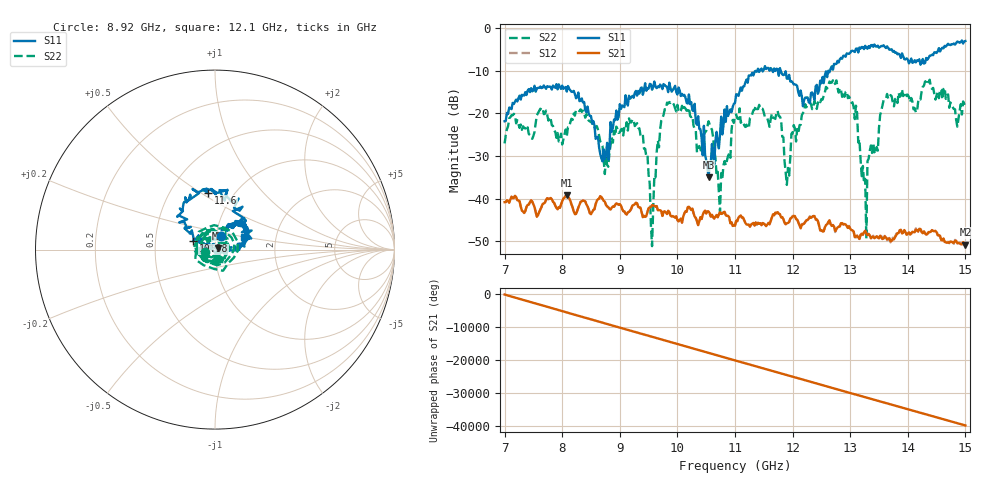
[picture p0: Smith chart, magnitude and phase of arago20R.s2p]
!Keysight Technologies,N5242B,MY47200105,A.14.00.23
!Date: Friday, April 26, 2024 11:23:16
!Correction: S11(C  2-Port  )
!S21(C  2-Port  )
!S12(C  2-Port  )
!S22(C  2-Port  )
!S2P File: Measurement: :
# Hz S  RI  R 50
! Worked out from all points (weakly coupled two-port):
!   401 points, 7 GHz to 15 GHz, reference 50 ohm
!   highest |S21| = -39.24 dB at 8.08 GHz (marker M1); lowest = -50.8 dB at 15 GHz (marker M2)
!   lowest |S11| = -35.0 dB at 10.54 GHz (marker M3), VSWR 1.04, Z = 51.5 + j0.974 ohm
!   |S11| at or under -10 dB: start of sweep to 11.36 GHz; 11.36058 GHz to 11.38562 GHz (25.04 MHz wide, 0.22 % of centre); 11.8 GHz to 12.62 GHz (823.9 MHz wide, 6.75 % of centre) (the widest 3 of 9)
!   |S22| runs from -51.2 to -12.0 dB; largest |S21 - S12| = 0.00021
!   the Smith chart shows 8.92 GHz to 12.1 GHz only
!   S11 on the Smith chart (normalised r, x): 8.92 GHz: 1.06, +0.16; 10.98 GHz: 0.78, +0.07; 11.6 GHz: 0.76, +0.53; 12.1 GHz: 1.37, +0.20
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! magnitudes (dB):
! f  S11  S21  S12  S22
! 7 GHz  -21.8  -40.8  -40.9  -27.0
! 8.08 GHz  -14.9  -39.2  -39.2  -25.3
! 8.34 GHz  -16.5  -40.6  -40.6  -19.6
! 8.7 GHz  -31.3  -40.0  -40.0  -27.6
! 8.92 GHz  -21.6  -41.4  -41.5  -25.2
! 9.32 GHz  -14.7  -42.0  -42.0  -23.4
! 9.56 GHz  -14.4  -41.6  -41.5  -51.2
! 9.68 GHz  -13.8  -42.7  -42.8  -28.0
! 10.24 GHz  -17.3  -42.7  -42.7  -20.9
! 10.54 GHz  -35.0  -43.0  -43.1  -21.8
! 10.74 GHz  -24.9  -43.2  -43.2  -43.2
! 10.98 GHz  -17.7  -46.3  -46.4  -22.2
! 11 GHz  -17.5  -46.4  -46.4  -20.7
! 11.6 GHz  -9.9  -46.0  -46.1  -23.1
! 11.76 GHz  -11.1  -43.6  -43.6  -20.6
! 11.9 GHz  -11.8  -45.8  -45.8  -36.8
! 12.1 GHz  -15.1  -45.6  -45.5  -24.7
! 12.34 GHz  -15.0  -44.3  -44.3  -19.0
! 12.96 GHz  -5.9  -46.9  -46.9  -16.4
! 13.24 GHz  -4.9  -47.9  -47.9  -36.4
! 13.68 GHz  -5.0  -49.4  -49.3  -16.4
! 15 GHz  -3.0  -50.8  -50.9  -18.7
